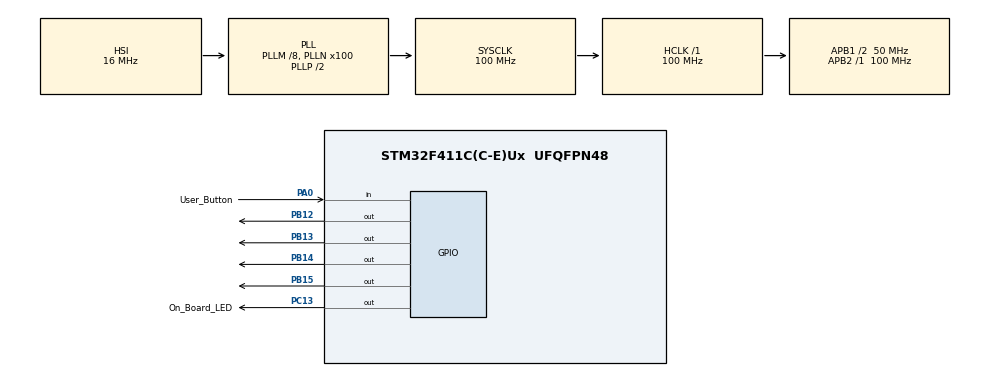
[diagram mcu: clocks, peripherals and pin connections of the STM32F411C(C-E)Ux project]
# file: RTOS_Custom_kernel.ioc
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Mcu.Family=STM32F4
Mcu.Name=STM32F411C(C-E)Ux
Mcu.Package=UFQFPN48
NVIC.PriorityGroup=NVIC_PRIORITYGROUP_4
PA0-WKUP.GPIO_Label=User_Button
PA0-WKUP.GPIO_PuPd=GPIO_PULLDOWN
PA0-WKUP.Signal=GPIO_Input
PA13.Mode=Serial_Wire
PA13.Signal=SYS_JTMS-SWDIO
PA14.Mode=Serial_Wire
PA14.Signal=SYS_JTCK-SWCLK
PB12.Signal=GPIO_Output
PB13.Signal=GPIO_Output
PB14.Signal=GPIO_Output
PB15.Signal=GPIO_Output
PC13-ANTI_TAMP.GPIO_Label=On_Board_LED
PC13-ANTI_TAMP.GPIO_PuPd=GPIO_PULLDOWN
PC13-ANTI_TAMP.Signal=GPIO_Output
PC14-OSC32_IN.Mode=LSE-External-Oscillator
PC14-OSC32_IN.Signal=RCC_OSC32_IN
PC15-OSC32_OUT.Mode=LSE-External-Oscillator
PC15-OSC32_OUT.Signal=RCC_OSC32_OUT
PH0\ -\ OSC_IN.Mode=HSE-External-Oscillator
PH0\ -\ OSC_IN.Signal=RCC_OSC_IN
PH1\ -\ OSC_OUT.Mode=HSE-External-Oscillator
PH1\ -\ OSC_OUT.Signal=RCC_OSC_OUT
ProjectManager.HeapSize=0x200
ProjectManager.StackSize=0x400
ProjectManager.TargetToolchain=STM32CubeIDE
RCC.48MHZClocksFreq_Value=50000000
RCC.AHBFreq_Value=100000000
RCC.APB1CLKDivider=RCC_HCLK_DIV2
RCC.APB1Freq_Value=50000000
RCC.APB1TimFreq_Value=100000000
RCC.APB2Freq_Value=100000000
RCC.APB2TimFreq_Value=100000000
RCC.CortexFreq_Value=100000000
RCC.HCLKFreq_Value=100000000
RCC.HSE_VALUE=25000000
RCC.HSI_VALUE=16000000
RCC.PLLM=8
RCC.PLLN=100
RCC.SYSCLKFreq_VALUE=100000000
RCC.SYSCLKSource=RCC_SYSCLKSOURCE_PLLCLK
RCC.VCOOutputFreq_Value=200000000
board=custom

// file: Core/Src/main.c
/* USER CODE BEGIN Header */
/**
  ******************************************************************************
  * @file           : main.c
  * @brief          : Main program body
  ******************************************************************************
  * @attention
  *
  * Copyright (c) 2026 STMicroelectronics.
  * All rights reserved.
  *
  * This software is licensed under terms that can be found in the LICENSE file
  * in the root directory of this software component.
  * If no LICENSE file comes with this software, it is provided AS-IS.
  *
  ******************************************************************************
  */
/* USER CODE END Header */
#include "main.h"

/* USER CODE BEGIN Includes */
#include "Custom_RTOS.h"
#include "semaphores.h"
#include "mutex.h"
/* USER CODE END Includes */

/* USER CODE BEGIN PV */
Semaphore Signal_1;
Mutex M1;

uint32_t idle_stack[40];

uint32_t stack_ml1[40];
OS_Thread ml1;

uint32_t  stack_ml2[40];
OS_Thread ml2;

uint32_t stack_ml3[40];
OS_Thread ml3;

uint32_t stack_ml4[40];
OS_Thread ml4;
/* USER CODE END PV */

void SystemClock_Config(void);
static void MX_GPIO_Init(void);

/* USER CODE BEGIN 0 */

/* Ensure Signal_1 is initialized as a Binary Semaphore with an initial count of 1 */
extern Semaphore Signal_1;

void main_loop1(void)
{
    while (1)
    {
        /* Task 1: Highest priority periodic task (runs independently) */
        for (int i = 0; i < 1000; i++)
        {
            HAL_GPIO_WritePin(GPIOB, GPIO_PIN_12, 1);
            for (int j = 0; j < 200; j++) { __NOP(); }
            HAL_GPIO_WritePin(GPIOB, GPIO_PIN_12, 0);
            for (int j = 0; j < 200; j++) { __NOP(); }
        }
        OS_Delay(100);
    }
}

void main_loop2(void)
{
    while (1)
    {
        /* Task 2 (High Priority): Requires shared resource */
        /* Short initial delay to ensure Task 4 locks the semaphore first */
        OS_Delay(50);

        Semaphore_Wait(&Signal_1);

        for (int i = 0; i < 2000; i++)
        {
            HAL_GPIO_WritePin(GPIOB, GPIO_PIN_13, 1);
            for (int j = 0; j < 200; j++) { __NOP(); }
            HAL_GPIO_WritePin(GPIOB, GPIO_PIN_13, 0);
            for (int j = 0; j < 200; j++) { __NOP(); }
        }

        Semaphore_Signal(&Signal_1);
        OS_Delay(200);
    }
}

void main_loop3(void)
{
    while (1)
    {
        /* Task 3 (Medium Priority): CPU-intensive workload, NO mutex/semaphore */
        /* Starts slightly after Task 2 has blocked on Task 4 */
        OS_Delay(80);

        for (int i = 0; i < 8000; i++)
        {
            HAL_GPIO_WritePin(GPIOB, GPIO_PIN_14, 1);
            for (int j = 0; j < 400; j++) { __NOP(); }
            HAL_GPIO_WritePin(GPIOB, GPIO_PIN_14, 0);
            for (int j = 0; j < 400; j++) { __NOP(); }
        }

        OS_Delay(500);
    }
}

void main_loop4(void)
{
    while (1)
    {
        /* Task 4 (Low Priority): Acquires semaphore immediately */
        Semaphore_Wait(&Signal_1);

        for (int i = 0; i < 12000; i++)
        {
            HAL_GPIO_WritePin(GPIOB, GPIO_PIN_15, 1);
            for (int j = 0; j < 600; j++) { __NOP(); }
            HAL_GPIO_WritePin(GPIOB, GPIO_PIN_15, 0);
            for (int j = 0; j < 600; j++) { __NOP(); }
        }

        Semaphore_Signal(&Signal_1);
        OS_Delay(1000);
    }
}
/* USER CODE END 0 */

int main(void)
{

  /* USER CODE BEGIN 1 */
	OS_init(idle_stack, sizeof(idle_stack));
  /* USER CODE END 1 */

  /* MCU Configuration--------------------------------------------------------*/

  /* Reset of all peripherals, Initializes the Flash interface and the Systick. */
  HAL_Init();

  /* Configure the system clock */
  SystemClock_Config();

  /* Initialize all configured peripherals */
  MX_GPIO_Init();

  /* Infinite loop */
  /* USER CODE BEGIN WHILE */
  Semaphore_Init(&Signal_1, 1, 1);
  Mutex_init(&M1);

  OS_Thread_Start( &ml1, &main_loop1, stack_ml1, sizeof(stack_ml1), 0);
  OS_Thread_Start( &ml2, &main_loop2, stack_ml2, sizeof(stack_ml2), 1);
  OS_Thread_Start( &ml3, &main_loop3, stack_ml3, sizeof(stack_ml3), 2);
  OS_Thread_Start( &ml4, &main_loop4, stack_ml4, sizeof(stack_ml4), 3);

  OS_start();

  while (1)
  {
    /* USER CODE END WHILE */

  }
}

void SystemClock_Config(void)
{
  RCC_OscInitTypeDef RCC_OscInitStruct = {0};
  RCC_ClkInitTypeDef RCC_ClkInitStruct = {0};

  /** Configure the main internal regulator output voltage
  */
  __HAL_RCC_PWR_CLK_ENABLE();
  __HAL_PWR_VOLTAGESCALING_CONFIG(PWR_REGULATOR_VOLTAGE_SCALE1);

  /** Initializes the RCC Oscillators according to the specified parameters
  * in the RCC_OscInitTypeDef structure.
  */
  RCC_OscInitStruct.OscillatorType = RCC_OSCILLATORTYPE_HSI;
  RCC_OscInitStruct.HSIState = RCC_HSI_ON;
  RCC_OscInitStruct.HSICalibrationValue = RCC_HSICALIBRATION_DEFAULT;
  RCC_OscInitStruct.PLL.PLLState = RCC_PLL_ON;
  RCC_OscInitStruct.PLL.PLLSource = RCC_PLLSOURCE_HSI;
  RCC_OscInitStruct.PLL.PLLM = 8;
  RCC_OscInitStruct.PLL.PLLN = 100;
  RCC_OscInitStruct.PLL.PLLP = RCC_PLLP_DIV2;
  RCC_OscInitStruct.PLL.PLLQ = 4;
  if (HAL_RCC_OscConfig(&RCC_OscInitStruct) != HAL_OK)
  {
    Error_Handler();
  }

  /** Initializes the CPU, AHB and APB buses clocks
  */
  RCC_ClkInitStruct.ClockType = RCC_CLOCKTYPE_HCLK|RCC_CLOCKTYPE_SYSCLK
                              |RCC_CLOCKTYPE_PCLK1|RCC_CLOCKTYPE_PCLK2;
  RCC_ClkInitStruct.SYSCLKSource = RCC_SYSCLKSOURCE_PLLCLK;
  RCC_ClkInitStruct.AHBCLKDivider = RCC_SYSCLK_DIV1;
  RCC_ClkInitStruct.APB1CLKDivider = RCC_HCLK_DIV2;
  RCC_ClkInitStruct.APB2CLKDivider = RCC_HCLK_DIV1;

  if (HAL_RCC_ClockConfig(&RCC_ClkInitStruct, FLASH_LATENCY_3) != HAL_OK)
  {
    Error_Handler();
  }
}

static void MX_GPIO_Init(void)
{
  GPIO_InitTypeDef GPIO_InitStruct = {0};

  /* GPIO Ports Clock Enable */
  __HAL_RCC_GPIOC_CLK_ENABLE();
  __HAL_RCC_GPIOH_CLK_ENABLE();
  __HAL_RCC_GPIOA_CLK_ENABLE();
  __HAL_RCC_GPIOB_CLK_ENABLE();

  /*Configure GPIO pin Output Level */
  HAL_GPIO_WritePin(On_Board_LED_GPIO_Port, On_Board_LED_Pin, GPIO_PIN_RESET);

  /*Configure GPIO pin Output Level */
  HAL_GPIO_WritePin(GPIOB, GPIO_PIN_12|GPIO_PIN_13|GPIO_PIN_14|GPIO_PIN_15, GPIO_PIN_RESET);

  /*Configure GPIO pin : On_Board_LED_Pin */
  GPIO_InitStruct.Pin = On_Board_LED_Pin;
  GPIO_InitStruct.Mode = GPIO_MODE_OUTPUT_PP;
  GPIO_InitStruct.Pull = GPIO_PULLDOWN;
  GPIO_InitStruct.Speed = GPIO_SPEED_FREQ_LOW;
  HAL_GPIO_Init(On_Board_LED_GPIO_Port, &GPIO_InitStruct);

  /*Configure GPIO pin : User_Button_Pin */
  GPIO_InitStruct.Pin = User_Button_Pin;
  GPIO_InitStruct.Mode = GPIO_MODE_INPUT;
  GPIO_InitStruct.Pull = GPIO_PULLDOWN;
  HAL_GPIO_Init(User_Button_GPIO_Port, &GPIO_InitStruct);

  /*Configure GPIO pins : PB12 PB13 PB14 PB15 */
  GPIO_InitStruct.Pin = GPIO_PIN_12|GPIO_PIN_13|GPIO_PIN_14|GPIO_PIN_15;
  GPIO_InitStruct.Mode = GPIO_MODE_OUTPUT_PP;
  GPIO_InitStruct.Pull = GPIO_NOPULL;
  GPIO_InitStruct.Speed = GPIO_SPEED_FREQ_LOW;
  HAL_GPIO_Init(GPIOB, &GPIO_InitStruct);

}

void Error_Handler(void)
{
  __disable_irq();
  while (1)
  {
  }
}
